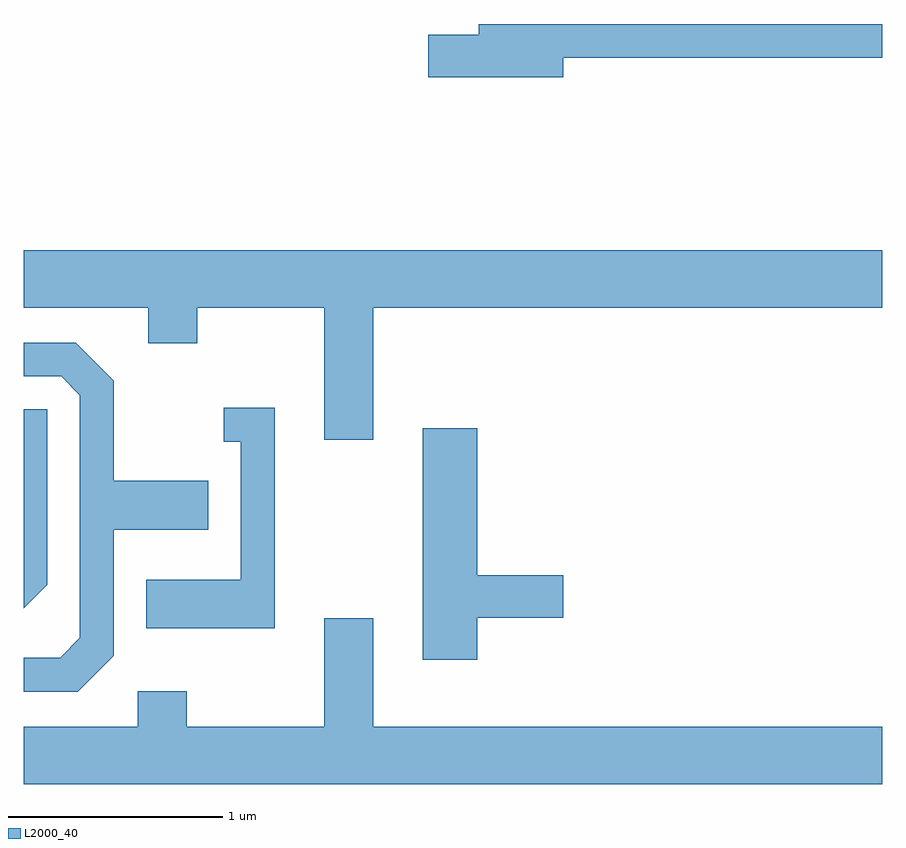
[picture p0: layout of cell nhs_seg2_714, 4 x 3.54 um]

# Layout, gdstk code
import gdstk
lib = gdstk.Library(unit=1e-6, precision=1e-09)
def P(c, l, *ps):  # polygons
    for p in ps: c.add(gdstk.Polygon(p, *l))
L2000_40 = (2000, 40)

nhs_seg2_714 = lib.new_cell('nhs_seg2_714')
P(nhs_seg2_714, L2000_40, [(208.124,1049.481),(209.611,1049.481),(209.611,1049.639),(207.731,1049.639),(207.731,1049.589),(207.496,1049.589),(207.496,1049.391),(208.124,1049.391)],
  [(207.239,1048.316),(209.611,1048.316),(209.611,1048.584),(205.611,1048.584),(205.611,1048.316),(206.191,1048.316),(206.191,1048.151),(206.419,1048.151),(206.419,1048.316),(207.011,1048.316),(207.011,1047.701),(207.239,1047.701)],
  [(206.029,1046.694),(206.029,1047.281),(206.469,1047.281),(206.469,1047.509),(206.029,1047.509),(206.029,1047.977),(205.852,1048.154),(205.611,1048.154),(205.611,1047.996),(205.784,1047.996),(205.871,1047.909),(205.871,1046.777),(205.779,1046.684),(205.611,1046.684),(205.611,1046.526),(205.862,1046.526)],
  [(206.779,1047.849),(206.543,1047.849),(206.543,1047.691),(206.621,1047.691),(206.621,1047.049),(206.181,1047.049),(206.181,1046.821),(206.779,1046.821)],
  [(205.719,1047.024),(205.719,1047.844),(205.611,1047.844),(205.611,1046.915)],
  [(207.724,1046.871),(208.124,1046.871),(208.124,1047.069),(207.724,1047.069),(207.724,1047.754),(207.471,1047.754),(207.471,1046.676),(207.724,1046.676)],
  [(209.611,1046.364),(207.239,1046.364),(207.239,1046.869),(207.011,1046.869),(207.011,1046.364),(206.369,1046.364),(206.369,1046.529),(206.141,1046.529),(206.141,1046.364),(205.611,1046.364),(205.611,1046.096),(209.611,1046.096)])

lib.write_gds('nhs_seg2_714.gds')
